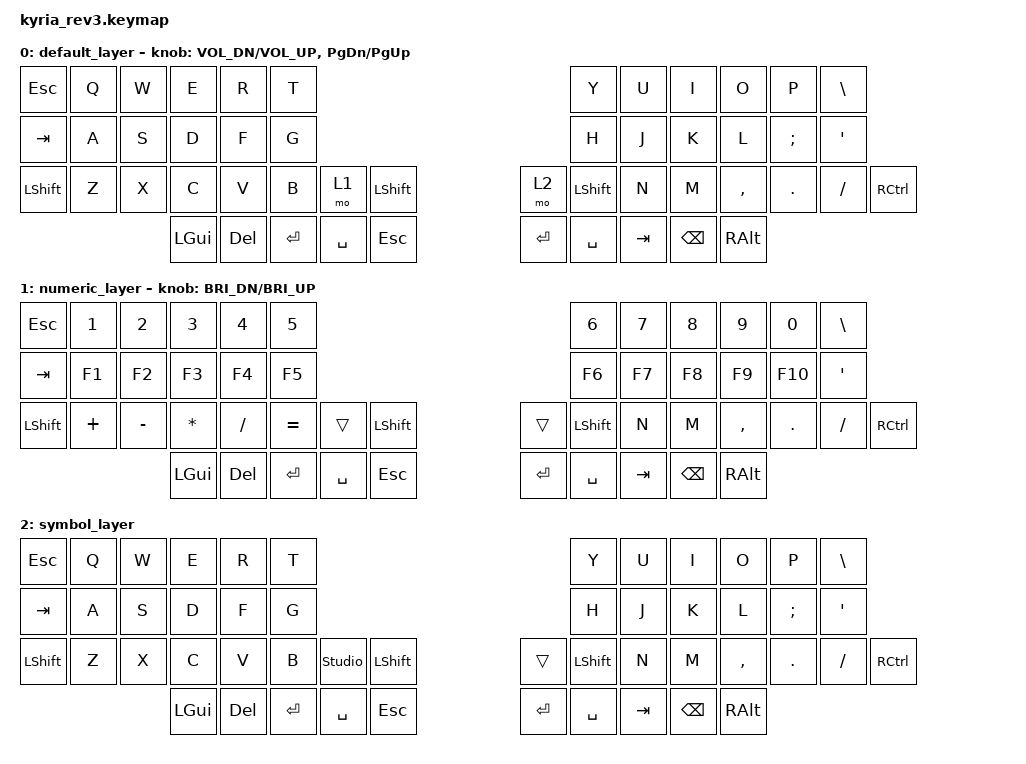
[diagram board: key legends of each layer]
/*
 * Copyright (c) 2023 The ZMK Contributors
 *
 * SPDX-License-Identifier: MIT
 */

#include <behaviors.dtsi>
#include <dt-bindings/zmk/bt.h>
#include <dt-bindings/zmk/keys.h>

&led_strip {
    //chain-length = <6>;
    chain-length = <31>; // Uncomment if using both per-key and underglow LEDs
    //chain-length = <25>; // Uncomment if using only per-key LEDs.
};

/ {
    keymap {
        compatible = "zmk,keymap";

        default_layer {
            // ---------------------------------------------------------------------------------------------------------------------------------
            // |  ESC  |  Q  |  W  |  E   |  R   |  T   |                                          |  Y   |  U    |  I    |  O   |   P   |   \  |
            // |  TAB  |  A  |  S  |  D   |  F   |  G   |                                          |  H   |  J    |  K    |  L   |   ;   |   '  |
            // | SHIFT |  Z  |  X  |  C   |  V   |  B   | L SHIFT | L SHIFT |  | LAYER 1 | L SHIFT |  N   |  M    |  ,    |  .   |   /   | CTRL |
            //                     | GUI  | DEL  | RET  |  SPACE  |   ESC   |  |   RET   |  SPACE  | TAB  | BSPC  | R-ALT |
            bindings = <
            &kp ESC   &kp Q &kp W &kp E &kp R &kp T                                                  &kp Y &kp U  &kp I     &kp O   &kp P    &kp BSLH
            &kp TAB   &kp A &kp S &kp D &kp F &kp G                                                  &kp H &kp J  &kp K     &kp L   &kp SEMI &kp SQT
            &kp LSHFT &kp Z &kp X &kp C &kp V &kp B &mo 1 &kp LSHFT            &mo 2   &kp LSHFT &kp N &kp M  &kp COMMA &kp DOT &kp FSLH &kp RCTRL
                                  &kp LGUI &kp DEL &kp RET &kp SPACE &kp ESC       &kp RET &kp SPACE &kp TAB &kp BSPC &kp RALT
            >;
            sensor-bindings = <
                &inc_dec_kp C_VOL_DN C_VOL_UP
                &inc_dec_kp PG_DN PG_UP
            >;
        };

        numeric_layer {
            // ---------------------------------------------------------------------------------------------------------------------------------
            // |  ESC  |  1  |  2  |  3   |  4   |  5   |                                          |  6   |  7    |  8    |  9   |   0   |   \  |
            // |  TAB  |  F1 |  F2 |  F3  |  F4  |  F5  |                                          |  F6  |  F7   |  F8   |  F9  |   F10 |   '  |
            // | SHIFT |  +  |  -  |  *   |  /   |  =   | L SHIFT | L SHIFT |  | LAYER 1 | L SHIFT |  N   |  M    |  ,    |  .   |   /   | CTRL |
            //                     | GUI  | DEL  | RET  |  SPACE  |   ESC   |  |   RET   |  SPACE  | TAB  | BSPC  | R-ALT |
            bindings = <
            &kp ESC   &kp N1 &kp N2 &kp N3 &kp N4 &kp N5                                             &kp N6 &kp N7  &kp N8   &kp N9 &kp N0  &kp BSLH
            &kp TAB   &kp F1 &kp F2 &kp F3 &kp F4 &kp F5                                             &kp F6 &kp F7  &kp F8   &kp F9 &kp F10 &kp SQT
            &kp LSHFT &kp PLUS &kp MINUS &kp STAR &kp SLASH &kp EQUAL &trans &kp LSHFT            &trans   &kp LSHFT &kp N  &kp M   &kp COMMA &kp DOT &kp FSLH &kp RCTRL
                                  &kp LGUI &kp DEL &kp RET &kp SPACE &kp ESC       &kp RET &kp SPACE &kp TAB &kp BSPC &kp RALT
            >;
            sensor-bindings = <
                &inc_dec_kp C_BRI_DN C_BRI_UP
            >;
        };

        symbol_layer {
            // ---------------------------------------------------------------------------------------------------------------------------------
            // |  ESC  |  Q  |  W  |  E   |  R   |  T   |                                          |  Y   |  U    |  I    |  O   |   P   |   \  |
            // |  TAB  |  A  |  S  |  D   |  F   |  G   |                                          |  H   |  J    |  K    |  L   |   ;   |   '  |
            // | SHIFT |  Z  |  X  |  C   |  V   |  B   | STUDIO  | L SHIFT |  | LAYER 1 | L SHIFT |  N   |  M    |  ,    |  .   |   /   | CTRL |
            //                     | GUI  | DEL  | RET  |  SPACE  |   ESC   |  |   RET   |  SPACE  | TAB  | BSPC  | R-ALT |
            bindings = <
            &kp ESC   &kp Q &kp W &kp E &kp R &kp T                                                  &kp Y &kp U  &kp I     &kp O   &kp P    &kp BSLH
            &kp TAB   &kp A &kp S &kp D &kp F &kp G                                                  &kp H &kp J  &kp K     &kp L   &kp SEMI &kp SQT
            &kp LSHFT &kp Z &kp X &kp C &kp V &kp B &studio_unlock &kp LSHFT            &trans   &kp LSHFT &kp N &kp M  &kp COMMA &kp DOT &kp FSLH &kp RCTRL
                                  &kp LGUI &kp DEL &kp RET &kp SPACE &kp ESC       &kp RET &kp SPACE &kp TAB &kp BSPC &kp RALT
            >;
        };
    };
};
